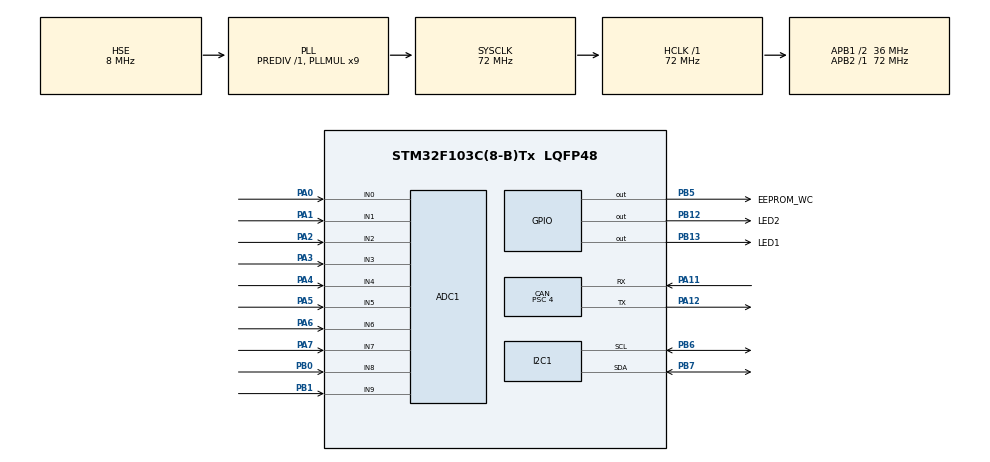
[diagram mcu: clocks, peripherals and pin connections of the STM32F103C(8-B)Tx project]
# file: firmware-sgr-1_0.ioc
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ADC1.Channel-0\#ChannelRegularConversion=ADC_CHANNEL_0
ADC1.Channel-1\#ChannelRegularConversion=ADC_CHANNEL_1
ADC1.Channel-11\#ChannelRegularConversion=ADC_CHANNEL_TEMPSENSOR
ADC1.Channel-2\#ChannelRegularConversion=ADC_CHANNEL_2
ADC1.Channel-3\#ChannelRegularConversion=ADC_CHANNEL_3
ADC1.Channel-4\#ChannelRegularConversion=ADC_CHANNEL_4
ADC1.Channel-5\#ChannelRegularConversion=ADC_CHANNEL_5
ADC1.Channel-6\#ChannelRegularConversion=ADC_CHANNEL_6
ADC1.Channel-7\#ChannelRegularConversion=ADC_CHANNEL_7
ADC1.Channel-8\#ChannelRegularConversion=ADC_CHANNEL_8
ADC1.Channel-9\#ChannelRegularConversion=ADC_CHANNEL_9
ADC1.ContinuousConvMode=ENABLE
ADC1.NbrOfConversion=11
ADC1.NbrOfConversionFlag=1
ADC1.Rank-0\#ChannelRegularConversion=1
ADC1.Rank-1\#ChannelRegularConversion=2
ADC1.Rank-11\#ChannelRegularConversion=11
ADC1.Rank-2\#ChannelRegularConversion=3
ADC1.Rank-3\#ChannelRegularConversion=4
ADC1.Rank-4\#ChannelRegularConversion=5
ADC1.Rank-5\#ChannelRegularConversion=6
ADC1.Rank-6\#ChannelRegularConversion=7
ADC1.Rank-7\#ChannelRegularConversion=8
ADC1.Rank-8\#ChannelRegularConversion=9
ADC1.Rank-9\#ChannelRegularConversion=10
ADC1.SamplingTime-0\#ChannelRegularConversion=ADC_SAMPLETIME_41CYCLES_5
ADC1.SamplingTime-1\#ChannelRegularConversion=ADC_SAMPLETIME_41CYCLES_5
ADC1.SamplingTime-11\#ChannelRegularConversion=ADC_SAMPLETIME_239CYCLES_5
ADC1.SamplingTime-2\#ChannelRegularConversion=ADC_SAMPLETIME_41CYCLES_5
ADC1.SamplingTime-3\#ChannelRegularConversion=ADC_SAMPLETIME_41CYCLES_5
ADC1.SamplingTime-4\#ChannelRegularConversion=ADC_SAMPLETIME_41CYCLES_5
ADC1.SamplingTime-5\#ChannelRegularConversion=ADC_SAMPLETIME_41CYCLES_5
ADC1.SamplingTime-6\#ChannelRegularConversion=ADC_SAMPLETIME_41CYCLES_5
ADC1.SamplingTime-7\#ChannelRegularConversion=ADC_SAMPLETIME_41CYCLES_5
ADC1.SamplingTime-8\#ChannelRegularConversion=ADC_SAMPLETIME_41CYCLES_5
ADC1.SamplingTime-9\#ChannelRegularConversion=ADC_SAMPLETIME_41CYCLES_5
ADC1.master=1
CAN.BS1=CAN_BS1_7TQ
CAN.CalculateBaudRate=1000000
CAN.CalculateTimeBit=1000
CAN.CalculateTimeQuantum=111.11111111111111
CAN.Prescaler=4
Dma.ADC1.0.Direction=DMA_PERIPH_TO_MEMORY
Dma.ADC1.0.Instance=DMA1_Channel1
Dma.ADC1.0.MemDataAlignment=DMA_MDATAALIGN_WORD
Dma.ADC1.0.MemInc=DMA_MINC_ENABLE
Dma.ADC1.0.Mode=DMA_CIRCULAR
Dma.ADC1.0.PeriphDataAlignment=DMA_PDATAALIGN_WORD
Dma.ADC1.0.PeriphInc=DMA_PINC_DISABLE
Dma.ADC1.0.Priority=DMA_PRIORITY_LOW
Dma.Request0=ADC1
I2C1.I2C_Mode=I2C_Standard
Mcu.Family=STM32F1
Mcu.Name=STM32F103C(8-B)Tx
Mcu.Package=LQFP48
NVIC.ADC1_2_IRQn=true\:1\:0\:true\:false\:true\:true\:true\:true
NVIC.DMA1_Channel1_IRQn=true\:0\:0\:false\:false\:true\:false\:true\:true
NVIC.PriorityGroup=NVIC_PRIORITYGROUP_4
NVIC.USB_LP_CAN1_RX0_IRQn=true\:2\:0\:true\:false\:true\:true\:true\:true
PA0-WKUP.Signal=ADCx_IN0
PA1.Signal=ADCx_IN1
PA11.Mode=CAN_Activate
PA11.Signal=CAN_RX
PA12.Mode=CAN_Activate
PA12.Signal=CAN_TX
PA13.Mode=Serial_Wire
PA13.Signal=SYS_JTMS-SWDIO
PA14.Mode=Serial_Wire
PA14.Signal=SYS_JTCK-SWCLK
PA2.Signal=ADCx_IN2
PA3.Signal=ADCx_IN3
PA4.Signal=ADCx_IN4
PA5.Signal=ADCx_IN5
PA6.Signal=ADCx_IN6
PA7.Signal=ADCx_IN7
PB0.Signal=ADCx_IN8
PB1.Signal=ADCx_IN9
PB12.GPIO_Label=LED2
PB12.Signal=GPIO_Output
PB13.GPIO_Label=LED1
PB13.Signal=GPIO_Output
PB5.GPIO_Label=EEPROM_WC
PB5.Signal=GPIO_Output
PB6.Mode=I2C
PB6.Signal=I2C1_SCL
PB7.Mode=I2C
PB7.Signal=I2C1_SDA
PD0-OSC_IN.Mode=HSE-External-Oscillator
PD0-OSC_IN.Signal=RCC_OSC_IN
PD1-OSC_OUT.Mode=HSE-External-Oscillator
PD1-OSC_OUT.Signal=RCC_OSC_OUT
ProjectManager.HeapSize=0x200
ProjectManager.StackSize=0x400
ProjectManager.TargetToolchain=CMake
RCC.ADCPresc=RCC_ADCPCLK2_DIV6
RCC.AHBFreq_Value=72000000
RCC.APB1CLKDivider=RCC_HCLK_DIV2
RCC.APB1Freq_Value=36000000
RCC.APB1TimFreq_Value=72000000
RCC.APB2Freq_Value=72000000
RCC.APB2TimFreq_Value=72000000
RCC.HCLKFreq_Value=72000000
RCC.PLLMUL=RCC_PLL_MUL9
RCC.PLLSourceVirtual=RCC_PLLSOURCE_HSE
RCC.SYSCLKFreq_VALUE=72000000
RCC.SYSCLKSource=RCC_SYSCLKSOURCE_PLLCLK
RCC.USBFreq_Value=72000000
SH.ADCx_IN0.0=ADC1_IN0,IN0
SH.ADCx_IN1.0=ADC1_IN1,IN1
SH.ADCx_IN2.0=ADC1_IN2,IN2
SH.ADCx_IN3.0=ADC1_IN3,IN3
SH.ADCx_IN4.0=ADC1_IN4,IN4
SH.ADCx_IN5.0=ADC1_IN5,IN5
SH.ADCx_IN6.0=ADC1_IN6,IN6
SH.ADCx_IN7.0=ADC1_IN7,IN7
SH.ADCx_IN8.0=ADC1_IN8,IN8
SH.ADCx_IN9.0=ADC1_IN9,IN9
STMicroelectronics.X-CUBE-ALGOBUILD.1.4.0.LibraryCcDSPOoLibraryJjDSPOoLibrary=true
STMicroelectronics.X-CUBE-EEPRMA1.5.2.0.EEPROMCcBoardOoPartJjM24JjM24XX=true
VP_ADC1_TempSens_Input.Mode=IN-TempSens
VP_STMicroelectronics.X-CUBE-ALGOBUILD_VS_DSPOoLibraryJjLibrary_1.4.0_1.4.0.Mode=DSPOoLibraryJjLibrary
VP_STMicroelectronics.X-CUBE-EEPRMA1_VS_BoardOoPartJjEEPROM_5.2.0_5.2.0.Mode=BoardOoPartJjEEPROM
board=custom

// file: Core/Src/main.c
/* USER CODE BEGIN Header */
/**
  ******************************************************************************
  * @file           : main.c
  * @brief          : Main program body
  ******************************************************************************
  * @attention
  *
  * Copyright (c) 2024 STMicroelectronics.
  * All rights reserved.
  *
  * This software is licensed under terms that can be found in the LICENSE file
  * in the root directory of this software component.
  * If no LICENSE file comes with this software, it is provided AS-IS.
  *
  ******************************************************************************
  */
/* USER CODE END Header */
#include "main.h"

/* USER CODE BEGIN Includes */
#include <assert.h>

#include "bsp.h"
#include "led.h"
#include "Lib/dsp.h"
#include "Lib/readings.h"
#include "mem.h"
#include "messaging.h"
#include "temperature.h"
/* USER CODE END Includes */

/* USER CODE BEGIN PD */
#define READINGS_NUMBER_OF_CHANNELS BSP_WBRIDGE_CHANNELS
/* USER CODE END PD */

ADC_HandleTypeDef hadc1;
DMA_HandleTypeDef hdma_adc1;

CAN_HandleTypeDef hcan;

I2C_HandleTypeDef hi2c1;

/* USER CODE BEGIN PV */
uint8_t can_rx_callback = 0U;
/* USER CODE END PV */

void SystemClock_Config(void);
static void MX_GPIO_Init(void);
static void MX_DMA_Init(void);
static void MX_ADC1_Init(void);
static void MX_CAN_Init(void);
static void MX_I2C1_Init(void);

int main(void)
{

  /* MCU Configuration--------------------------------------------------------*/

  /* Reset of all peripherals, Initializes the Flash interface and the Systick. */
  HAL_Init();

  /* Configure the system clock */
  SystemClock_Config();

  /* Initialize all configured peripherals */
  MX_GPIO_Init();
  MX_DMA_Init();
  MX_ADC1_Init();
  MX_CAN_Init();
  MX_I2C1_Init();
  /* USER CODE BEGIN 2 */
  MessagingCfg_Typedef messaging_cfg = { 0 };
  int32_t can_msg_per[CAN_MESSAGING_TOTAL_MESSAGES] = { 0U };
  uint32_t can_msg_time[CAN_MESSAGING_TOTAL_MESSAGES] = { 0U };

  ReadingTypedef reading_struct[READINGS_NUMBER_OF_CHANNELS] = { 0 };
  uint8_t verify_buffer[10] = { 0U };
  uint32_t reading_buffer[10] = { 0U };

  uint16_t filter_freq_buffer[READINGS_NUMBER_OF_CHANNELS] = { 0U };
  uint8_t filter_q_factor_buffer[READINGS_NUMBER_OF_CHANNELS] = { 0U };

  assert(BSP_EEPROM_Init(0U) >= BSP_ERROR_NONE);

  assert(mem_load_can_cfg(&messaging_cfg) >= 0);
  assert(mem_load_can_msg_freqs(&can_msg_per[0], CAN_MESSAGING_DATA_MESSAGES) >= 0);
  assert(mem_load_filters(&filter_freq_buffer[0], &filter_q_factor_buffer[0], READINGS_NUMBER_OF_CHANNELS) >= 0);

  assert(BSP_TEMPERATURE_Init() == BSP_ERROR_NONE);

  for (uint8_t i = 0U; i < READINGS_NUMBER_OF_CHANNELS; ++i) {
    assert(readings_init(&reading_struct[i], i, &reading_buffer[i], &verify_buffer[i]) >= 0);
    assert(readings_set_filter(&reading_struct[i], &filter_freq_buffer[i], &filter_q_factor_buffer[i]) >= 0);
  }

 assert(can_messaging_init(&messaging_cfg) >= 0);

  for (uint8_t i = kLed1; i < kLedAmount; ++i) {
  	assert(BSP_LED_Init(i) == BSP_ERROR_NONE);
  }

  // Set initial time equal to current tick time
  for (uint8_t i = 0U; i < CAN_MESSAGING_TOTAL_MESSAGES; ++i) {
    can_msg_time[i] = BSP_GetTimeMs();
  }
  /* USER CODE END 2 */

  /* Infinite loop */
  /* USER CODE BEGIN WHILE */
  while (1)
  {
    for (uint8_t i = 0U; i < READINGS_NUMBER_OF_CHANNELS; ++i) {
		  readings_calc(&reading_struct[i]);
    }

  	if (can_rx_callback == 1U) {
  		can_rx_callback = 0U;
  	}

  	for (uint8_t i = 0U; i < CAN_MESSAGING_TOTAL_MESSAGES; ++i) {
  		if (((BSP_GetTimeMs() - can_msg_time[i]) >= can_msg_per[i])
  		      && can_msg_per[i] != CAN_MESSAGING_MESSAGE_DISABLED) {
  		  // Increment period to keep average interval the same as the period
  			can_msg_time[i] += can_msg_per[i];
  			can_messaging_send(i, &reading_buffer[0], &verify_buffer[0]);
  		}
  	}
    /* USER CODE END WHILE */

  }
}

void SystemClock_Config(void)
{
  RCC_OscInitTypeDef RCC_OscInitStruct = {0};
  RCC_ClkInitTypeDef RCC_ClkInitStruct = {0};
  RCC_PeriphCLKInitTypeDef PeriphClkInit = {0};

  /** Initializes the RCC Oscillators according to the specified parameters
  * in the RCC_OscInitTypeDef structure.
  */
  RCC_OscInitStruct.OscillatorType = RCC_OSCILLATORTYPE_HSE;
  RCC_OscInitStruct.HSEState = RCC_HSE_ON;
  RCC_OscInitStruct.HSEPredivValue = RCC_HSE_PREDIV_DIV1;
  RCC_OscInitStruct.HSIState = RCC_HSI_ON;
  RCC_OscInitStruct.PLL.PLLState = RCC_PLL_ON;
  RCC_OscInitStruct.PLL.PLLSource = RCC_PLLSOURCE_HSE;
  RCC_OscInitStruct.PLL.PLLMUL = RCC_PLL_MUL9;
  if (HAL_RCC_OscConfig(&RCC_OscInitStruct) != HAL_OK)
  {
    Error_Handler();
  }

  /** Initializes the CPU, AHB and APB buses clocks
  */
  RCC_ClkInitStruct.ClockType = RCC_CLOCKTYPE_HCLK|RCC_CLOCKTYPE_SYSCLK
                              |RCC_CLOCKTYPE_PCLK1|RCC_CLOCKTYPE_PCLK2;
  RCC_ClkInitStruct.SYSCLKSource = RCC_SYSCLKSOURCE_PLLCLK;
  RCC_ClkInitStruct.AHBCLKDivider = RCC_SYSCLK_DIV1;
  RCC_ClkInitStruct.APB1CLKDivider = RCC_HCLK_DIV2;
  RCC_ClkInitStruct.APB2CLKDivider = RCC_HCLK_DIV1;

  if (HAL_RCC_ClockConfig(&RCC_ClkInitStruct, FLASH_LATENCY_2) != HAL_OK)
  {
    Error_Handler();
  }
  PeriphClkInit.PeriphClockSelection = RCC_PERIPHCLK_ADC;
  PeriphClkInit.AdcClockSelection = RCC_ADCPCLK2_DIV6;
  if (HAL_RCCEx_PeriphCLKConfig(&PeriphClkInit) != HAL_OK)
  {
    Error_Handler();
  }
}

static void MX_ADC1_Init(void)
{

  ADC_ChannelConfTypeDef sConfig = {0};

  /** Common config
  */
  hadc1.Instance = ADC1;
  hadc1.Init.ScanConvMode = ADC_SCAN_ENABLE;
  hadc1.Init.ContinuousConvMode = ENABLE;
  hadc1.Init.DiscontinuousConvMode = DISABLE;
  hadc1.Init.ExternalTrigConv = ADC_SOFTWARE_START;
  hadc1.Init.DataAlign = ADC_DATAALIGN_RIGHT;
  hadc1.Init.NbrOfConversion = 11;
  if (HAL_ADC_Init(&hadc1) != HAL_OK)
  {
    Error_Handler();
  }

  /** Configure Regular Channel
  */
  sConfig.Channel = ADC_CHANNEL_0;
  sConfig.Rank = ADC_REGULAR_RANK_1;
  sConfig.SamplingTime = ADC_SAMPLETIME_41CYCLES_5;
  if (HAL_ADC_ConfigChannel(&hadc1, &sConfig) != HAL_OK)
  {
    Error_Handler();
  }

  /** Configure Regular Channel
  */
  sConfig.Channel = ADC_CHANNEL_1;
  sConfig.Rank = ADC_REGULAR_RANK_2;
  if (HAL_ADC_ConfigChannel(&hadc1, &sConfig) != HAL_OK)
  {
    Error_Handler();
  }

  /** Configure Regular Channel
  */
  sConfig.Channel = ADC_CHANNEL_2;
  sConfig.Rank = ADC_REGULAR_RANK_3;
  if (HAL_ADC_ConfigChannel(&hadc1, &sConfig) != HAL_OK)
  {
    Error_Handler();
  }

  /** Configure Regular Channel
  */
  sConfig.Channel = ADC_CHANNEL_3;
  sConfig.Rank = ADC_REGULAR_RANK_4;
  if (HAL_ADC_ConfigChannel(&hadc1, &sConfig) != HAL_OK)
  {
    Error_Handler();
  }

  /** Configure Regular Channel
  */
  sConfig.Channel = ADC_CHANNEL_4;
  sConfig.Rank = ADC_REGULAR_RANK_5;
  if (HAL_ADC_ConfigChannel(&hadc1, &sConfig) != HAL_OK)
  {
    Error_Handler();
  }

  /** Configure Regular Channel
  */
  sConfig.Channel = ADC_CHANNEL_5;
  sConfig.Rank = ADC_REGULAR_RANK_6;
  if (HAL_ADC_ConfigChannel(&hadc1, &sConfig) != HAL_OK)
  {
    Error_Handler();
  }

  /** Configure Regular Channel
  */
  sConfig.Channel = ADC_CHANNEL_6;
  sConfig.Rank = ADC_REGULAR_RANK_7;
  if (HAL_ADC_ConfigChannel(&hadc1, &sConfig) != HAL_OK)
  {
    Error_Handler();
  }

  /** Configure Regular Channel
  */
  sConfig.Channel = ADC_CHANNEL_7;
  sConfig.Rank = ADC_REGULAR_RANK_8;
  if (HAL_ADC_ConfigChannel(&hadc1, &sConfig) != HAL_OK)
  {
    Error_Handler();
  }

  /** Configure Regular Channel
  */
  sConfig.Channel = ADC_CHANNEL_8;
  sConfig.Rank = ADC_REGULAR_RANK_9;
  if (HAL_ADC_ConfigChannel(&hadc1, &sConfig) != HAL_OK)
  {
    Error_Handler();
  }

  /** Configure Regular Channel
  */
  sConfig.Channel = ADC_CHANNEL_9;
  sConfig.Rank = ADC_REGULAR_RANK_10;
  if (HAL_ADC_ConfigChannel(&hadc1, &sConfig) != HAL_OK)
  {
    Error_Handler();
  }

  /** Configure Regular Channel
  */
  sConfig.Channel = ADC_CHANNEL_TEMPSENSOR;
  sConfig.Rank = ADC_REGULAR_RANK_11;
  sConfig.SamplingTime = ADC_SAMPLETIME_239CYCLES_5;
  if (HAL_ADC_ConfigChannel(&hadc1, &sConfig) != HAL_OK)
  {
    Error_Handler();
  }

}

static void MX_CAN_Init(void)
{

  hcan.Instance = CAN1;
  hcan.Init.Prescaler = 4;
  hcan.Init.Mode = CAN_MODE_NORMAL;
  hcan.Init.SyncJumpWidth = CAN_SJW_1TQ;
  hcan.Init.TimeSeg1 = CAN_BS1_7TQ;
  hcan.Init.TimeSeg2 = CAN_BS2_1TQ;
  hcan.Init.TimeTriggeredMode = DISABLE;
  hcan.Init.AutoBusOff = DISABLE;
  hcan.Init.AutoWakeUp = DISABLE;
  hcan.Init.AutoRetransmission = DISABLE;
  hcan.Init.ReceiveFifoLocked = DISABLE;
  hcan.Init.TransmitFifoPriority = DISABLE;
  if (HAL_CAN_Init(&hcan) != HAL_OK)
  {
    Error_Handler();
  }

}

static void MX_I2C1_Init(void)
{

  hi2c1.Instance = I2C1;
  hi2c1.Init.ClockSpeed = 100000;
  hi2c1.Init.DutyCycle = I2C_DUTYCYCLE_2;
  hi2c1.Init.OwnAddress1 = 0;
  hi2c1.Init.AddressingMode = I2C_ADDRESSINGMODE_7BIT;
  hi2c1.Init.DualAddressMode = I2C_DUALADDRESS_DISABLE;
  hi2c1.Init.OwnAddress2 = 0;
  hi2c1.Init.GeneralCallMode = I2C_GENERALCALL_DISABLE;
  hi2c1.Init.NoStretchMode = I2C_NOSTRETCH_DISABLE;
  if (HAL_I2C_Init(&hi2c1) != HAL_OK)
  {
    Error_Handler();
  }

}

static void MX_DMA_Init(void)
{

  /* DMA controller clock enable */
  __HAL_RCC_DMA1_CLK_ENABLE();

  /* DMA interrupt init */
  /* DMA1_Channel1_IRQn interrupt configuration */
  HAL_NVIC_SetPriority(DMA1_Channel1_IRQn, 0, 0);
  HAL_NVIC_EnableIRQ(DMA1_Channel1_IRQn);

}

static void MX_GPIO_Init(void)
{
  GPIO_InitTypeDef GPIO_InitStruct = {0};

  /* GPIO Ports Clock Enable */
  __HAL_RCC_GPIOD_CLK_ENABLE();
  __HAL_RCC_GPIOA_CLK_ENABLE();
  __HAL_RCC_GPIOB_CLK_ENABLE();

  /*Configure GPIO pin Output Level */
  HAL_GPIO_WritePin(GPIOB, LED2_Pin|LED1_Pin|EEPROM_WC_Pin, GPIO_PIN_RESET);

  /*Configure GPIO pins : LED2_Pin LED1_Pin EEPROM_WC_Pin */
  GPIO_InitStruct.Pin = LED2_Pin|LED1_Pin|EEPROM_WC_Pin;
  GPIO_InitStruct.Mode = GPIO_MODE_OUTPUT_PP;
  GPIO_InitStruct.Pull = GPIO_NOPULL;
  GPIO_InitStruct.Speed = GPIO_SPEED_FREQ_LOW;
  HAL_GPIO_Init(GPIOB, &GPIO_InitStruct);

}

/* USER CODE BEGIN 4 */
void HAL_CAN_RxFifo0MsgPendingCallback(CAN_HandleTypeDef *hcan) {
	if (hcan->Instance == CAN1) {
		can_rx_callback = 1U;
	}
}
/* USER CODE END 4 */

void Error_Handler(void)
{
  __disable_irq();
  while (1)
  {
  }
}
